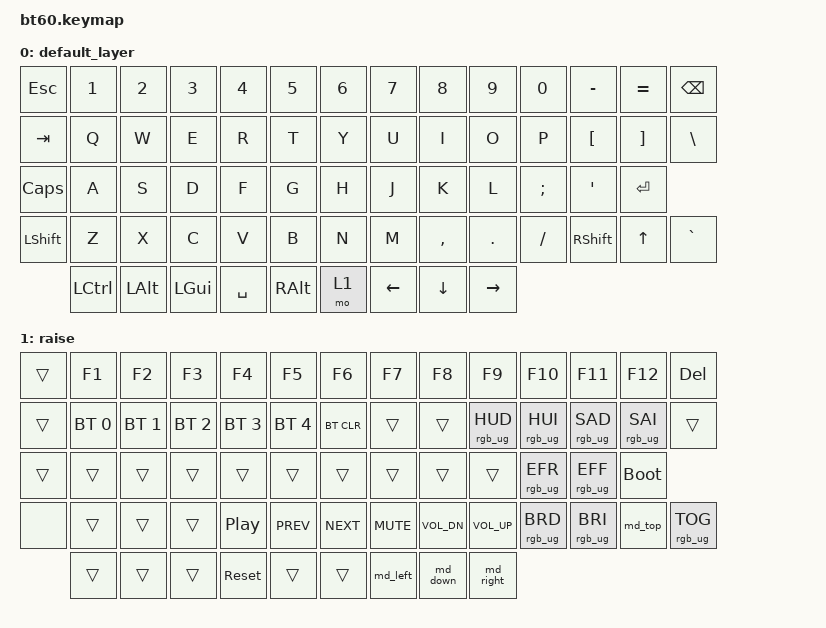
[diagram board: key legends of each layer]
#include <behaviors.dtsi>
#include <dt-bindings/zmk/bt.h>
#include <dt-bindings/zmk/keys.h>
#include <dt-bindings/zmk/rgb.h>

/ {
    macros {
        md_right: md_right {
            compatible = "zmk,behavior-macro";
            label = "MD_RIGHT";
            #binding-cells = <0>;
            bindings =
                <&macro_press>,
                <&kp RIGHT_CONTROL>,
                <&macro_tap>,
                <&kp RIGHT>,
                <&macro_release>,
                <&kp RCTRL>;
        };

        md_left: md_left {
            compatible = "zmk,behavior-macro";
            label = "MD_LEFT";
            #binding-cells = <0>;
            bindings =
                <&macro_press>,
                <&kp RCTRL>,
                <&macro_tap>,
                <&kp LEFT>,
                <&macro_release>,
                <&kp RCTRL>;
        };

        md_top: md_top {
            compatible = "zmk,behavior-macro";
            label = "MD_TOP";
            #binding-cells = <0>;
            bindings =
                <&macro_press>,
                <&kp RCTRL>,
                <&macro_tap>,
                <&kp UP>,
                <&macro_release>,
                <&kp RCTRL>;
        };

        md_down: md_down {
            compatible = "zmk,behavior-macro";
            label = "MD_DOWN";
            #binding-cells = <0>;
            bindings =
                <&macro_press>,
                <&kp RCTRL>,
                <&macro_tap>,
                <&kp DOWN>,
                <&macro_release>,
                <&kp RCTRL>;
        };
    };

    keymap {
        compatible = "zmk,keymap";

        default_layer {
            // ------------------------------------------------------------------------------------------
            // | ESC |  1  |  2  |  3  |  4  |  5  |  6  |  7  |  8  |  9  |  0  |  -  |  =  |   BKSP   |
            // | TAB  |  Q  |  W  |  E  |  R  |  T  |  Y  |  U  |  I  |  O  |  P  |  [  |  ]  |    |    |
            // | CAPS  |  A  |  S  |  D  |  F  |  G  |  H  |  J  |  K  |  L  |  ;  |  '  |     ENTER    |
            // |   SHIFT  |  Z  |  X  |  C  |  V  |  B  |  N  |  M  |  ,  |  .  |  /  | SHFT |  UP  | ` |
            // |  CTL  |  ALT  |  WIN  |            SPACE               | ALT | 1 | LEFT | DOWN | RIGHT |
            // ------------------------------------------------------------------------------------------

            bindings = <
&kp ESC    &kp N1     &kp N2    &kp N3    &kp N4     &kp N5    &kp N6  &kp N7    &kp N8    &kp N9     &kp N0    &kp MINUS  &kp EQUAL  &kp BSPC
&kp TAB    &kp Q      &kp W     &kp E     &kp R      &kp T     &kp Y   &kp U     &kp I     &kp O      &kp P     &kp LBKT   &kp RBKT   &kp BSLH
&kp CLCK   &kp A      &kp S     &kp D     &kp F      &kp G     &kp H   &kp J     &kp K     &kp L      &kp SEMI  &kp SQT    &kp RET
&kp LSHFT             &kp Z     &kp X     &kp C      &kp V     &kp B   &kp N     &kp M     &kp COMMA  &kp DOT   &kp FSLH   &kp RSHFT  &kp UP    &kp GRAVE
           &kp LCTRL  &kp LALT  &kp LGUI  &kp SPACE  &kp RALT  &mo 1   &kp LEFT  &kp DOWN  &kp RIGHT
            >;
        };

        raise {
            bindings = <
&trans  &kp F1        &kp F2        &kp F3        &kp F4        &kp F5            &kp F6      &kp F7      &kp F8      &kp F9           &kp F10          &kp F11          &kp F12          &kp DEL
&trans  &bt BT_SEL 0  &bt BT_SEL 1  &bt BT_SEL 2  &bt BT_SEL 3  &bt BT_SEL 4      &bt BT_CLR  &trans      &trans      &rgb_ug RGB_HUD  &rgb_ug RGB_HUI  &rgb_ug RGB_SAD  &rgb_ug RGB_SAI  &trans
&trans  &trans        &trans        &trans        &trans        &trans            &trans      &trans      &trans      &trans           &rgb_ug RGB_EFR  &rgb_ug RGB_EFF  &bootloader
&none                 &trans        &trans        &trans        &kp C_PLAY_PAUSE  &kp C_PREV  &kp C_NEXT  &kp K_MUTE  &kp C_VOL_DN     &kp C_VOL_UP     &rgb_ug RGB_BRD  &rgb_ug RGB_BRI  &md_top  &rgb_ug RGB_TOG
        &trans        &trans        &trans        &sys_reset    &trans            &trans      &md_left    &md_down    &md_right
            >;
        };
    };
};
